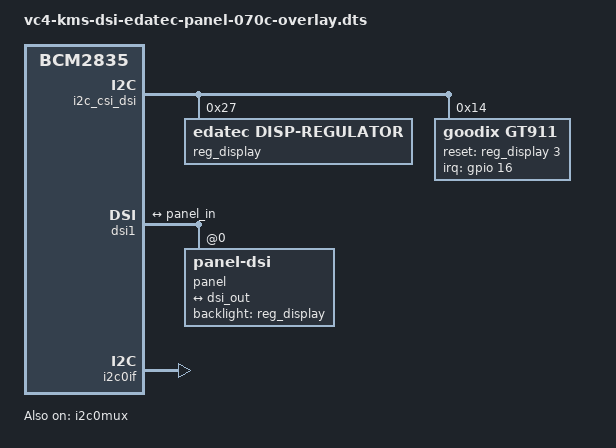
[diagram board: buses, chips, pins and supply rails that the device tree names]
/dts-v1/;
/plugin/;

/ {
	compatible = "brcm,bcm2835";

	i2c_frag: fragment@0 {
		target = <&i2c_csi_dsi>;
		__overlay__ {
			#gpio-cells = <2>;
			#address-cells = <1>;
			#size-cells = <0>;
			status = "okay";

			reg_display: reg_display@27 {
				reg = <0x27>;
				compatible = "edatec,disp-regulator";

				gpio-controller;
				#gpio-cells = <2>;
			};

			gt911: gt911@14 {
				compatible = "goodix,gt911";
				reg = <0x14>;
				pinctrl-names = "default";
				pinctrl-0 = <&gt911_pins>;

				reset-gpios = <&reg_display 3 0>;
				interrupt-parent = <&gpio>;
				interrupts = <16 2>;
				irq-gpios = <&gpio 16 0>;
			};
		};
	};

	fragment@1 {
		target = <&dsi1>;
		__overlay__ {
			status = "okay";
			port {
				dsi_out: endpoint {
					remote-endpoint = <&panel_in>;
				};
			};

			panel: panel@0 {
				reg = <0>;
				compatible = "panel-dsi";
				backlight = <&reg_display>;

				width-mm = <154>;
				height-mm = <86>;
				dsi-color-format = "RGB888";
				mode = "MODE_VIDEO","MODE_VIDEO_SYNC_PULSE";

				timing: panel-timing {
					clock-frequency = <41000000>;
					hactive = <1024>;
					hfront-porch = <40>;
					hsync-len = <10>;
					hback-porch = <40>;
					vactive = <600>;
					vfront-porch = <4>;
					vsync-len = <2>;
					vback-porch = <4>;
				};

				port {
					panel_in: endpoint {
						data-lanes = <1 2>;
						remote-endpoint = <&dsi_out>;
					};
				};
			};
		};
	};

	fragment@2 {
		target = <&i2c0if>;
		__overlay__ {
			status = "okay";
		};
	};

	fragment@3 {
		target = <&i2c0mux>;
		__overlay__ {
			status = "okay";
		};
	};

	fragment@4 {
		target = <&i2c1>;
		__dormant__ {
			status = "okay";
		};
	};

	fragment@5 {
		target = <&gpio>;
		__overlay__ {
			gt911_pins: gt911_pins {
				brcm,pins = <16>;
				brcm,function = <0>;
				brcm,pull = <2>;
			};
		};
	};

	__overrides__ {
		i2c1 = <&i2c_frag>, "target:0=",<&i2c1>,
			   <0>,"-2-3+4";
		i2c4 = <&i2c_frag>, "target:0=",<&i2c_csi_dsi0>;
		interrupt = <&gt911_pins>,"brcm,pins:0",
				    <&gt911>,"interrupts:0",
				    <&gt911>,"irq-gpios:4";
	};
};
